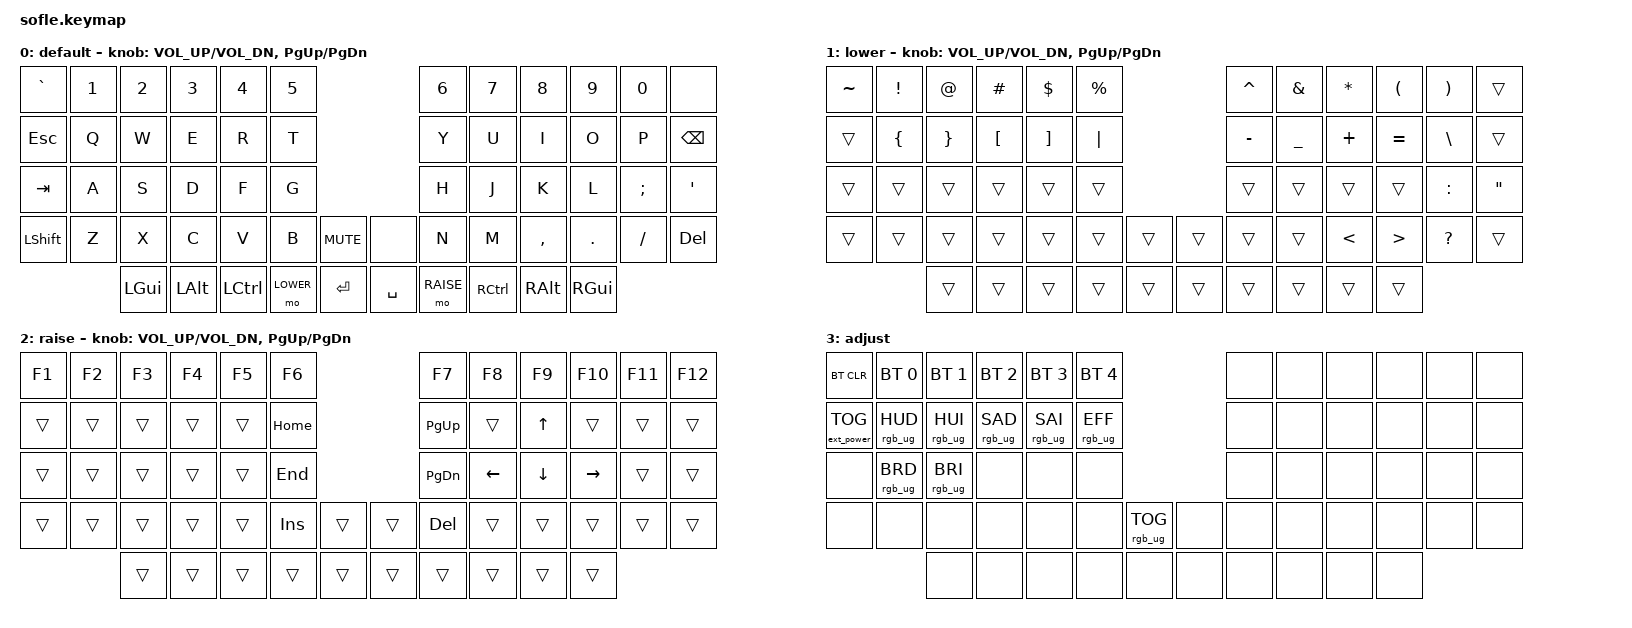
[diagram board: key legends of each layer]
/*
 * Copyright (c) 2020 The ZMK Contributors
 *
 * SPDX-License-Identifier: MIT
 */

#include <behaviors.dtsi>
#include <dt-bindings/zmk/bt.h>
#include <dt-bindings/zmk/ext_power.h>
#include <dt-bindings/zmk/keys.h>
#include <dt-bindings/zmk/rgb.h>

#define BASE 0
#define LOWER 1
#define RAISE 2
#define ADJUST 3

/ {
    // Activate ADJUST layer by pressing raise and lower

    conditional_layers {
        compatible = "zmk,conditional-layers";

        adjust_layer {
            if-layers = <LOWER RAISE>;
            then-layer = <ADJUST>;
        };
    };

    keymap {
        compatible = "zmk,keymap";

        default_layer {
            display-name = "default";

            // ------------------------------------------------------------------------------------------------------------
            // |   `   |  1  |  2  |  3   |  4   |  5   |                   |  6   |  7    |  8    |  9   |   0   |       |
            // |  ESC  |  Q  |  W  |  E   |  R   |  T   |                   |  Y   |  U    |  I    |  O   |   P   | BKSPC |
            // |  TAB  |  A  |  S  |  D   |  F   |  G   |                   |  H   |  J    |  K    |  L   |   ;   |   '   |
            // | SHIFT |  Z  |  X  |  C   |  V   |  B   |  MUTE  |  |       |  N   |  M    |  ,    |  .   |   /   | SHIFT |
            //               | GUI | ALT  | CTRL | LOWER|  ENTER |  | SPACE | RAISE| CTRL  | ALT   | GUI  |

            bindings = <
&kp GRAVE  &kp N1  &kp N2    &kp N3    &kp N4     &kp N5                              &kp N6     &kp N7     &kp N8     &kp N9    &kp N0    &none
&kp ESC    &kp Q   &kp W     &kp E     &kp R      &kp T                               &kp Y      &kp U      &kp I      &kp O     &kp P     &kp BSPC
&kp TAB    &kp A   &kp S     &kp D     &kp F      &kp G                               &kp H      &kp J      &kp K      &kp L     &kp SEMI  &kp SQT
&kp LSHFT  &kp Z   &kp X     &kp C     &kp V      &kp B      &kp C_MUTE    &none      &kp N      &kp M      &kp COMMA  &kp DOT   &kp FSLH  &kp DELETE
                   &kp LGUI  &kp LALT  &kp LCTRL  &mo LOWER  &kp RET       &kp SPACE  &mo RAISE  &kp RCTRL  &kp RALT   &kp RGUI
            >;

            sensor-bindings = <&inc_dec_kp C_VOL_UP C_VOL_DN &inc_dec_kp PG_UP PG_DN>;
        };

        lower_layer {
            display-name = "lower";

            // TODO: Some binds are waiting for shifted keycode support.
            // ------------------------------------------------------------------------------------------------------------
            // |       |  F1 |  F2 |  F3  |  F4  |  F5  |                   |  F6  |  F7   |  F8   |  F9  |  F10  |  F11  |
            // |   `   |  1  |  2  |  3   |  4   |  5   |                   |  6   |  7    |  8    |  9   |   0   |  F12  |
            // |       |  !  |  @  |  #   |  $   |  %   |                   |  ^   |  &    |  *    |  (   |   )   |   |   |
            // |       |  =  |  -  |  +   |  {   |  }   |        |  |       |  [   |  ]    |  ;    |  :   |   \   |       |
            //               |     |      |      |      |        |  |       |      |       |       |      |

            bindings = <
&kp TILDE  &kp EXCLAMATION  &kp AT           &kp HASH          &kp DLLR           &kp PRCNT                    &kp CARET  &kp AMPS        &kp STAR       &kp LPAR          &kp RPAR       &trans
&trans     &kp LEFT_BRACE   &kp RIGHT_BRACE  &kp LEFT_BRACKET  &kp RIGHT_BRACKET  &kp PIPE                     &kp MINUS  &kp UNDERSCORE  &kp PLUS       &kp EQUAL         &kp BACKSLASH  &trans
&trans     &trans           &trans           &trans            &trans             &trans                       &trans     &trans          &trans         &trans            &kp COLON      &kp DOUBLE_QUOTES
&trans     &trans           &trans           &trans            &trans             &trans     &trans    &trans  &trans     &trans          &kp LESS_THAN  &kp GREATER_THAN  &kp QUESTION   &trans
                            &trans           &trans            &trans             &trans     &trans    &trans  &trans     &trans          &trans         &trans
            >;

            sensor-bindings = <&inc_dec_kp C_VOL_UP C_VOL_DN &inc_dec_kp PG_UP PG_DN>;
        };

        raise_layer {
            display-name = "raise";

            // ------------------------------------------------------------------------------------------------------------
            // | BTCLR | BT1  | BT2  |  BT3  |  BT4  |  BT5 |                |      |      |       |      |       |       |
            // |       | INS  | PSCR | GUI   |       |      |                | PGUP |      |   ^   |      |       |       |
            // |       | ALT  | CTRL | SHIFT |       | CAPS |                | PGDN |   <- |   v   |  ->  |  DEL  | BKSPC |
            // |       | UNDO | CUT  | COPY  | PASTE |      |      |  |      |      |      |       |      |       |       |
            //                |      |       |       |      |      |  |      |      |      |       |      |

            bindings = <
&kp F1  &kp F2  &kp F3  &kp F4  &kp F5  &kp F6                        &kp F7         &kp F8    &kp F9    &kp F10    &kp F11  &kp F12
&trans  &trans  &trans  &trans  &trans  &kp HOME                      &kp PAGE_UP    &trans    &kp UP    &trans     &trans   &trans
&trans  &trans  &trans  &trans  &trans  &kp END                       &kp PAGE_DOWN  &kp LEFT  &kp DOWN  &kp RIGHT  &trans   &trans
&trans  &trans  &trans  &trans  &trans  &kp INSERT  &trans    &trans  &kp DELETE     &trans    &trans    &trans     &trans   &trans
                &trans  &trans  &trans  &trans      &trans    &trans  &trans         &trans    &trans    &trans
            >;

            sensor-bindings = <&inc_dec_kp C_VOL_UP C_VOL_DN &inc_dec_kp PG_UP PG_DN>;
        };

        adjust_layer {
            // ----------------------------------------------------------------------------------------------------------------------------
            // | BTCLR  |  BT1    |  BT2    |   BT3   |   BT4   |   BT5   |                  |      |      |       |      |       |       |
            // | EXTPWR | RGB_HUD | RGB_HUI | RGB_SAD | RGB_SAI | RGB_EFF |                  |      |      |       |      |       |       |
            // |        | RGB_BRD | RGB_BRI |         |         |         |                  |      |      |       |      |       |       |
            // |        |         |         |         |         |         | RGB_TOG | |      |      |      |       |      |       |       |
            //                    |         |         |         |         |         | |      |      |      |       |      |

            display-name = "adjust";
            bindings = <
&bt BT_CLR         &bt BT_SEL 0     &bt BT_SEL 1     &bt BT_SEL 2     &bt BT_SEL 3     &bt BT_SEL 4                               &none  &none  &none  &none  &none  &none
&ext_power EP_TOG  &rgb_ug RGB_HUD  &rgb_ug RGB_HUI  &rgb_ug RGB_SAD  &rgb_ug RGB_SAI  &rgb_ug RGB_EFF                            &none  &none  &none  &none  &none  &none
&none              &rgb_ug RGB_BRD  &rgb_ug RGB_BRI  &none            &none            &none                                      &none  &none  &none  &none  &none  &none
&none              &none            &none            &none            &none            &none            &rgb_ug RGB_TOG    &none  &none  &none  &none  &none  &none  &none
                                    &none            &none            &none            &none            &none              &none  &none  &none  &none  &none
            >;
        };
    };
};
